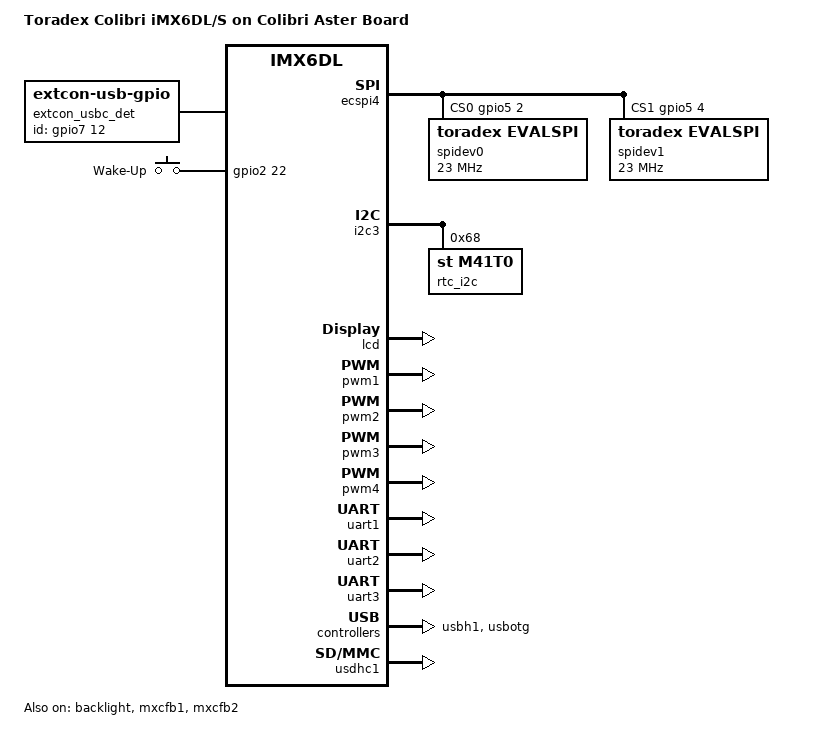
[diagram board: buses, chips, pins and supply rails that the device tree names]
/*
 * Copyright 2014-2018 Toradex AG
 * Copyright 2012 Freescale Semiconductor, Inc.
 * Copyright 2011 Linaro Ltd.
 *
 * The code contained herein is licensed under the GNU General Public
 * License. You may obtain a copy of the GNU General Public License
 * Version 2 or later at the following locations:
 *
 * http://www.opensource.org/licenses/gpl-license.html
 * http://www.gnu.org/copyleft/gpl.html
 */

/dts-v1/;

#include <dt-bindings/input/input.h>
#include <dt-bindings/interrupt-controller/irq.h>
#include <dt-bindings/pwm/pwm.h>
#include "imx6dl.dtsi"
#include "imx6qdl-colibri.dtsi"

/ {
	model = "Toradex Colibri iMX6DL/S on Colibri Aster Board";
	compatible = "toradex,colibri_imx6dl-aster", "toradex,colibri_imx6dl", "fsl,imx6dl";

	aliases {
		i2c0 = &i2cddc;
		i2c1 = &i2c2;
		i2c2 = &i2c3;
	};

	aliases {
		rtc0 = &rtc_i2c;
		rtc1 = &snvs_rtc;
	};

	aliases {
		/* the following, together with kernel patches, forces a fixed assignment
		   between device id and usdhc controller */
		/* i.e. the eMMC on usdhc3 will be /dev/mmcblk0 */
		mmc0 = &usdhc3; /* eMMC */
		mmc1 = &usdhc1; /* MMC 4bit slot */
	};

	extcon_usbc_det: usbc_det {
		compatible = "linux,extcon-usb-gpio";
		debounce = <25>;
		id-gpio = <&gpio7 12 GPIO_ACTIVE_HIGH>;
		pinctrl-names = "default";
		pinctrl-0 = <&pinctrl_usbc_det>;
	};

	gpio-keys {
		compatible = "gpio-keys";
		pinctrl-names = "default";
		pinctrl-0 = <&pinctrl_gpio_keys>;

		wakeup {
			label = "Wake-Up";
			gpios = <&gpio2 22 GPIO_ACTIVE_HIGH>;
			linux,code = <KEY_WAKEUP>;
			debounce-interval = <10>;
			gpio-key,wakeup;
		};
	};
};

&reg_usb_host_vbus {
	status = "okay";
};

&backlight {
	brightness-levels = <0 45 63 88 119 158 203 255>;
	default-brightness-level = <4>;
	pwms = <&pwm3 0 6666667 PWM_POLARITY_INVERTED>;
	status = "okay";
};

&ecspi4 {
	fsl,spi-num-chipselects = <2>;
	cs-gpios = <
		&gpio5 2 GPIO_ACTIVE_HIGH
		&gpio5 4 GPIO_ACTIVE_HIGH
	>;
	pinctrl-names = "default";
	pinctrl-0 = <&pinctrl_ecspi4 &pinctrl_csi_gpio_2>;
	status = "okay";

	spidev0: spidev@0 {
		compatible = "toradex,evalspi";
		reg = <0>;
		spi-max-frequency = <23000000>;
	};

	spidev1: spidev@1 {
		compatible = "toradex,evalspi";
		reg = <1>;
		spi-max-frequency = <23000000>;
	};
};

/*
 * I2C: I2C3_SDA/SCL on SODIMM 194/196 (e.g. RTC on carrier
 * board)
 */
&i2c3 {
	status = "okay";

	/* Atmel maxtouch controller */
	atmel_mxt_ts: atmel_mxt_ts@4a {
		compatible = "atmel,maxtouch";
		pinctrl-names = "default";
		pinctrl-0 = <&pinctrl_mxt_ts>;
		reg = <0x4a>;
		interrupt-parent = <&gpio2>;
		interrupts = <24 IRQ_TYPE_EDGE_FALLING>; /* SODIMM 107 */
		reset-gpios = <&gpio1 14 GPIO_ACTIVE_HIGH>; /* SODIMM 106 */
		/*
		 * Note: When the status is set to okay, to avoid pinmux
		 * conflict, one should remove the pinctrl_weim_cs1 and
		 * pinctrl_weim_cs2 pingroup from the weim pinctrl-0
		 * property or disable weim node.
		 */
		status = "disabled";
	};

	/* M41T0M6 real time clock on carrier board */
	rtc_i2c: rtc@68 {
		compatible = "st,m41t0";
		reg = <0x68>;
	};
};

&iomuxc {
	/*
	 * Mux all pins which are unused to be GPIOs
	 * so they are ready for export to user space
	 */
	pinctrl-names = "default";
	pinctrl-0 = <
		&pinctrl_weim_gpio_1 &pinctrl_weim_gpio_2
		&pinctrl_weim_gpio_3 &pinctrl_weim_gpio_4
		&pinctrl_weim_gpio_5 &pinctrl_weim_gpio_6
		&pinctrl_csi_gpio_1
		&pinctrl_gpio_1
		&pinctrl_gpio_2
		&pinctrl_usbh_oc_1 &pinctrl_usbc_id_1
	>;

	gpio {
		pinctrl_gpios: gpios {
			fsl,pins = <
				MX6QDL_PAD_GPIO_9__GPIO1_IO09	0x1b0b0 /* SODIMM 28 */
				MX6QDL_PAD_SD4_DAT2__GPIO2_IO10	0x1b0b0 /* SODIMM 30 */
			>;
		};

		pinctrl_mxt_ts: mxt-ts {
			fsl,pins = <
				MX6QDL_PAD_EIM_CS1__GPIO2_IO24	0x130b0 /* SODIMM 107 */
				MX6QDL_PAD_SD2_DAT1__GPIO1_IO14	0x130b0 /* SODIMM 106 */
			>;
		};
	};
};

&lcd {
	status = "okay";
};

&mxcfb1 {
	status = "okay";
};

&mxcfb2 {
	status = "okay";
};

&pwm1 {
	status = "okay";
};

&pwm2 {
	status = "okay";
};

&pwm3 {
	status = "okay";
};

&pwm4 {
	status = "okay";
};

&uart1 {
	status = "okay";
};

&uart2 {
	status = "okay";
};

&uart3 {
	status = "okay";
};

&usbh1 {
	status = "okay";
};

&usbotg {
	status = "okay";
	extcon = <&extcon_usbc_det>, <&extcon_usbc_det>;
};

/* MMC */
&usdhc1 {
	status = "okay";
};
